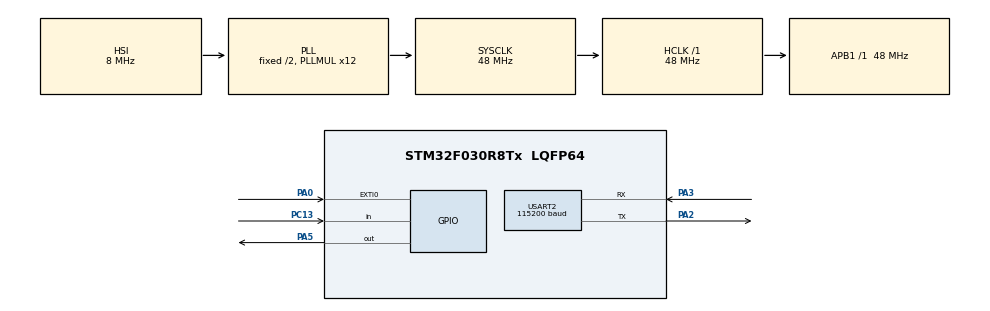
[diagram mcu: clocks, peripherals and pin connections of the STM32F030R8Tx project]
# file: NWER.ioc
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Dma.Request0=USART2_RX
Dma.USART2_RX.0.Direction=DMA_PERIPH_TO_MEMORY
Dma.USART2_RX.0.Instance=DMA1_Channel5
Dma.USART2_RX.0.MemDataAlignment=DMA_MDATAALIGN_BYTE
Dma.USART2_RX.0.MemInc=DMA_MINC_ENABLE
Dma.USART2_RX.0.Mode=DMA_NORMAL
Dma.USART2_RX.0.PeriphDataAlignment=DMA_PDATAALIGN_BYTE
Dma.USART2_RX.0.PeriphInc=DMA_PINC_DISABLE
Dma.USART2_RX.0.Priority=DMA_PRIORITY_LOW
FREERTOS.BinarySemaphores01=uart_check,Dynamic,NULL
FREERTOS.Tasks01=motor,-1,128,motor_cyclic,Default,NULL,Dynamic,NULL,NULL;sensor,1,128,sensor_cyclic,Default,NULL,Dynamic,NULL,NULL;GPS_Value,0,128,gps_cyclic,Default,NULL,Dynamic,NULL,NULL;PIR_IOT,2,128,pir_iot_cyclic,Default,NULL,Dynamic,NULL,NULL
FREERTOS.configCHECK_FOR_STACK_OVERFLOW=1
FREERTOS.configMINIMAL_STACK_SIZE=84
Mcu.Family=STM32F0
Mcu.Name=STM32F030R8Tx
Mcu.Package=LQFP64
NVIC.DMA1_Channel4_5_IRQn=true\:3\:0\:false\:false\:true\:true\:false\:true
NVIC.EXTI0_1_IRQn=true\:3\:0\:false\:false\:true\:true\:true\:true
NVIC.TIM3_IRQn=true\:0\:0\:false\:false\:true\:false\:false\:true
NVIC.TimeBase=TIM3_IRQn
NVIC.TimeBaseIP=TIM3
PA0.Signal=GPXTI0
PA2.Mode=Asynchronous
PA2.Signal=USART2_TX
PA3.Mode=Asynchronous
PA3.Signal=USART2_RX
PA5.Signal=GPIO_Output
PC13.Signal=GPIO_Input
ProjectManager.HeapSize=0x200
ProjectManager.StackSize=0x400
ProjectManager.TargetToolchain=SW4STM32
RCC.AHBFreq_Value=48000000
RCC.APB1Freq_Value=48000000
RCC.APB1TimFreq_Value=48000000
RCC.HCLKFreq_Value=48000000
RCC.PLLMUL=RCC_PLL_MUL12
RCC.SYSCLKFreq_VALUE=48000000
RCC.SYSCLKSource=RCC_SYSCLKSOURCE_PLLCLK
USART2.BaudRate=115200
USART2.VirtualMode-Asynchronous=VM_ASYNC
VP_FREERTOS_VS_CMSIS_V1.Mode=CMSIS_V1
VP_SYS_VS_tim3.Mode=TIM3
board=NUCLEO-F030R8

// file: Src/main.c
/* USER CODE BEGIN Header */
/**
  ******************************************************************************
  * @file           : main.c
  * @brief          : Main program body
  ******************************************************************************
  * @attention
  *
  * <h2><center>&copy; Copyright (c) 2019 STMicroelectronics.
  * All rights reserved.</center></h2>
  *
  * This software component is licensed by ST under Ultimate Liberty license
  * SLA0044, the "License"; You may not use this file except in compliance with
  * the License. You may obtain a copy of the License at:
  *                             www.st.com/SLA0044
  *
  ******************************************************************************
  */
/* USER CODE END Header */

/* USER CODE BEGIN Includes */
#include "user.h"
/* USER CODE END Includes */

UART_HandleTypeDef huart2;
DMA_HandleTypeDef hdma_usart2_rx;

osThreadId motorHandle;
osThreadId sensorHandle;
osThreadId GPS_ValueHandle;
osThreadId PIR_IOTHandle;
osSemaphoreId uart_checkHandle;
/* USER CODE BEGIN PV */
static bool shoutdown_flag;
uint8_t txData_start[35]="INTIAL CHECKING..................\r\n";
/* USER CODE END PV */

void SystemClock_Config(void);
static void MX_GPIO_Init(void);
static void MX_DMA_Init(void);
static void MX_USART2_UART_Init(void);
void motor_cyclic(void const * argument);
void sensor_cyclic(void const * argument);
void gps_cyclic(void const * argument);
void pir_iot_cyclic(void const * argument);

int main(void)
{

  /* MCU Configuration--------------------------------------------------------*/

  /* Reset of all peripherals, Initializes the Flash interface and the Systick. */
  HAL_Init();

  /* Configure the system clock */
  SystemClock_Config();

  /* Initialize all configured peripherals */
  MX_GPIO_Init();
  MX_DMA_Init();
  MX_USART2_UART_Init();

  /* Create the semaphores(s) */
  /* definition and creation of uart_check */
  osSemaphoreDef(uart_check);
  uart_checkHandle = osSemaphoreCreate(osSemaphore(uart_check), 1);

  /* Create the thread(s) */
  /* definition and creation of motor */
  osThreadDef(motor, motor_cyclic, osPriorityBelowNormal, 0, 128);
  motorHandle = osThreadCreate(osThread(motor), NULL);

  /* definition and creation of Joystick values */
  osThreadDef(sensor, sensor_cyclic, osPriorityAboveNormal, 0, 128);
  sensorHandle = osThreadCreate(osThread(sensor), NULL);

  /* definition and creation of SPI values */
  osThreadDef(GPS_Value, gps_cyclic, osPriorityNormal, 0, 128);
  GPS_ValueHandle = osThreadCreate(osThread(GPS_Value), NULL);

  /* definition and creation of PIR_IOT */
  osThreadDef(PIR_IOT, pir_iot_cyclic, osPriorityHigh, 0, 128);
  PIR_IOTHandle = osThreadCreate(osThread(PIR_IOT), NULL);

  /* USER CODE BEGIN RTOS_THREADS */
  MY_FLASH_SetSectorAddrs(15,0x0800F000);
  MY_FLASH_ReadN(0,my_way_poits_r,TOTAL_POINTS,DATA_TYPE_32);//Read the Flahs values for GPS
  /* add threads, ... */
  HAL_UART_Transmit(&huart2,txData_start,35,1);
  osDelay(2000);
  shoutdown_flag=start_init();
  /* USER CODE END RTOS_THREADS */

  /* Start scheduler */
  osKernelStart();

  /* We should never get here as control is now taken by the scheduler */

  /* Infinite loop */
  while (1)
  {

  }
}

void SystemClock_Config(void)
{
  RCC_OscInitTypeDef RCC_OscInitStruct = {0};
  RCC_ClkInitTypeDef RCC_ClkInitStruct = {0};

  /** Initializes the CPU, AHB and APB busses clocks
  */
  RCC_OscInitStruct.OscillatorType = RCC_OSCILLATORTYPE_HSI;
  RCC_OscInitStruct.HSIState = RCC_HSI_ON;
  RCC_OscInitStruct.HSICalibrationValue = RCC_HSICALIBRATION_DEFAULT;
  RCC_OscInitStruct.PLL.PLLState = RCC_PLL_ON;
  RCC_OscInitStruct.PLL.PLLSource = RCC_PLLSOURCE_HSI;
  RCC_OscInitStruct.PLL.PLLMUL = RCC_PLL_MUL12;
  RCC_OscInitStruct.PLL.PREDIV = RCC_PREDIV_DIV1;
  if (HAL_RCC_OscConfig(&RCC_OscInitStruct) != HAL_OK)
  {
    Error_Handler();
  }
  /** Initializes the CPU, AHB and APB busses clocks
  */
  RCC_ClkInitStruct.ClockType = RCC_CLOCKTYPE_HCLK|RCC_CLOCKTYPE_SYSCLK
                              |RCC_CLOCKTYPE_PCLK1;
  RCC_ClkInitStruct.SYSCLKSource = RCC_SYSCLKSOURCE_PLLCLK;
  RCC_ClkInitStruct.AHBCLKDivider = RCC_SYSCLK_DIV1;
  RCC_ClkInitStruct.APB1CLKDivider = RCC_HCLK_DIV1;

  if (HAL_RCC_ClockConfig(&RCC_ClkInitStruct, FLASH_LATENCY_1) != HAL_OK)
  {
    Error_Handler();
  }
}

static void MX_USART2_UART_Init(void)
{

  huart2.Instance = USART2;
  huart2.Init.BaudRate = 115200;
  huart2.Init.WordLength = UART_WORDLENGTH_8B;
  huart2.Init.StopBits = UART_STOPBITS_1;
  huart2.Init.Parity = UART_PARITY_NONE;
  huart2.Init.Mode = UART_MODE_TX_RX;
  huart2.Init.HwFlowCtl = UART_HWCONTROL_NONE;
  huart2.Init.OverSampling = UART_OVERSAMPLING_16;
  huart2.Init.OneBitSampling = UART_ONE_BIT_SAMPLE_DISABLE;
  huart2.AdvancedInit.AdvFeatureInit = UART_ADVFEATURE_NO_INIT;
  if (HAL_UART_Init(&huart2) != HAL_OK)
  {
    Error_Handler();
  }

}

static void MX_DMA_Init(void)
{

  /* DMA controller clock enable */
  __HAL_RCC_DMA1_CLK_ENABLE();

  /* DMA interrupt init */
  /* DMA1_Channel4_5_IRQn interrupt configuration */
  HAL_NVIC_SetPriority(DMA1_Channel4_5_IRQn, 3, 0);
  HAL_NVIC_EnableIRQ(DMA1_Channel4_5_IRQn);

}

static void MX_GPIO_Init(void)
{
  GPIO_InitTypeDef GPIO_InitStruct = {0};

  /* GPIO Ports Clock Enable */
  __HAL_RCC_GPIOC_CLK_ENABLE();
  __HAL_RCC_GPIOA_CLK_ENABLE();

  /*Configure GPIO pin Output Level */
  HAL_GPIO_WritePin(GPIOA, GPIO_PIN_5, GPIO_PIN_RESET);

  /*Configure GPIO pin : PC13 */
  GPIO_InitStruct.Pin = GPIO_PIN_13;
  GPIO_InitStruct.Mode = GPIO_MODE_INPUT;
  GPIO_InitStruct.Pull = GPIO_NOPULL;
  HAL_GPIO_Init(GPIOC, &GPIO_InitStruct);

  /*Configure GPIO pin : PA0 */
  GPIO_InitStruct.Pin = GPIO_PIN_0;
  GPIO_InitStruct.Mode = GPIO_MODE_IT_RISING;
  GPIO_InitStruct.Pull = GPIO_PULLDOWN;
  HAL_GPIO_Init(GPIOA, &GPIO_InitStruct);

  /*Configure GPIO pin : PA5 */
  GPIO_InitStruct.Pin = GPIO_PIN_5;
  GPIO_InitStruct.Mode = GPIO_MODE_OUTPUT_PP;
  GPIO_InitStruct.Pull = GPIO_NOPULL;
  GPIO_InitStruct.Speed = GPIO_SPEED_FREQ_LOW;
  HAL_GPIO_Init(GPIOA, &GPIO_InitStruct);

  /* EXTI interrupt init*/
  HAL_NVIC_SetPriority(EXTI0_1_IRQn, 3, 0);
  HAL_NVIC_EnableIRQ(EXTI0_1_IRQn);

}

void motor_cyclic(void const * argument)
{

  /* USER CODE BEGIN 5 */

  /* Infinite loop */
  for(;;)
  {
	  motor_cyclic_uart_check();
  }
  /* USER CODE END 5 */
}

/* Joystick read */
void sensor_cyclic(void const * argument)
{
  /* USER CODE BEGIN sensor_cyclic */

  /* Infinite loop */
  for(;;)
  {
	  joystick_cyclic_uart_check();
  }
  /* USER CODE END sensor_cyclic */
}

/* SPI read*/
void gps_cyclic(void const * argument)
{
  /* USER CODE BEGIN gps_cyclic */

  /* Infinite loop */
  for(;;)
  {
	  spi_cyclic_check();
  }
  /* USER CODE END gps_cyclic */
}

void pir_iot_cyclic(void const * argument)
{
  /* USER CODE BEGIN pir_iot_cyclic */
  /* Infinite loop */
  for(;;)
  {
    vTaskSuspend(NULL);//Task will suspend itself
    pir_iot_cyclic_check();
  }
  /* USER CODE END pir_iot_cyclic */
}

void HAL_TIM_PeriodElapsedCallback(TIM_HandleTypeDef *htim)
{
  if (htim->Instance == TIM3) {
    HAL_IncTick();
  }
}

void Error_Handler(void)
{
}

/******************************************************************************/
/* STM32F0xx Peripheral Interrupt Handlers                                    */
/* Add here the Interrupt Handlers for the used peripherals.                  */
/* For the available peripheral interrupt handler names,                      */
/* please refer to the startup file (startup_stm32f0xx.s).                    */
/******************************************************************************/

/**
  * @brief This function handles EXTI line 0 and 1 interrupts.
  */
void EXTI0_1_IRQHandler(void)
{
  /* USER CODE BEGIN EXTI0_1_IRQn 0 */
  BaseType_t check_re;//Check the return value from the suspend
  /* USER CODE END EXTI0_1_IRQn 0 */
  HAL_GPIO_EXTI_IRQHandler(GPIO_PIN_0);
  /* USER CODE BEGIN EXTI0_1_IRQn 1 */
  check_re=xTaskResumeFromISR(PIR_IOTHandle);
  portYIELD_FROM_ISR(check_re);
  /* USER CODE END EXTI0_1_IRQn 1 */
}

/************************ (C) COPYRIGHT STMicroelectronics *****END OF FILE****/
